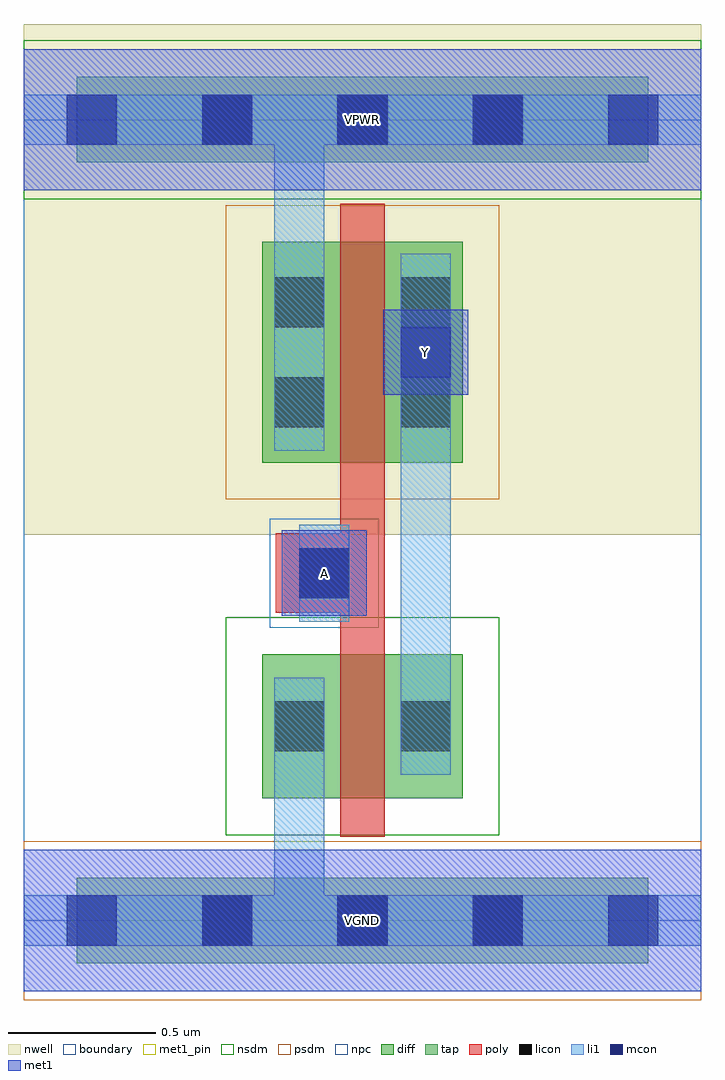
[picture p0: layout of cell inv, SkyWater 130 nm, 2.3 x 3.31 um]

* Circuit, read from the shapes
.subckt inv A VGND VPWR Y
XM1 Y A VGND VGND sky130_fd_pr__nfet_01v8 w=0.49 l=0.15
XM2 Y A VPWR VPWR sky130_fd_pr__pfet_01v8 w=0.75 l=0.15
.ends

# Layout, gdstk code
import gdstk
lib = gdstk.Library(unit=1e-6, precision=1e-09)
def R(c, l, rs):  # rectangles x0, y0, x1, y1
    for r in rs: c.add(gdstk.rectangle(r[:2], r[2:], *l))
def A(c, l, x, y, w, h, nx, ny, dx, dy):  # array of equal rectangles
    R(c, l, [(x+i*dx, y+j*dy, x+i*dx+w, y+j*dy+h) for i in range(nx) for j in range(ny)])
nwell = (64, 20)
diff = (65, 20)
tap = (65, 44)
poly = (66, 20)
licon = (66, 44)
li1 = (67, 20)
mcon = (67, 44)
met1_pin = (68, 16)
met1 = (68, 20)
nsdm = (93, 44)
psdm = (94, 20)
npc = (95, 20)
boundary = (235, 4)

inv = lib.new_cell('inv')
R(inv, nwell, [(0,1.31,2.3,3.045)])
R(inv, diff, [(0.81,0.415,1.49,0.905), (0.81,1.555,1.49,2.305)])
R(inv, tap, [(0.18,-0.145,2.12,0.145), (0.18,2.575,2.12,2.865)])
R(inv, poly, [(1.075,0.285,1.225,2.435), (0.855,1.045,1.185,1.315)])
A(inv, licon, 0.605, -0.085, 0.17, 0.17, 3, 2, 0.46, 2.72)
R(inv, licon, [(0.85,0.575,1.02,0.745), (1.28,0.575,1.45,0.745), (0.935,1.095,1.105,1.265), (0.85,1.675,1.02,1.845), (1.28,1.675,1.45,1.845), (0.85,2.015,1.02,2.185), (1.28,2.015,1.45,2.185)])
R(inv, li1, [(0,-0.085,2.3,0.085), (0.85,-0.085,1.02,0.825), (0.85,0.495,1.02,0.825), (1.28,0.495,1.45,0.825), (1.28,0.495,1.45,2.265), (0.935,1.015,1.105,1.345), (0.85,1.595,1.02,2.265), (0.85,1.595,1.02,2.805), (1.28,1.595,1.45,2.265), (0,2.635,2.3,2.805)])
A(inv, mcon, 0.145, -0.085, 0.17, 0.17, 5, 2, 0.46, 2.72)
R(inv, mcon, [(0.935,1.095,1.105,1.265), (1.28,1.845,1.45,2.015)])
R(inv, met1_pin, [(0,-0.24,2.3,0.24), (0.875,1.035,1.165,1.325), (1.22,1.785,1.51,2.075), (0,2.48,2.3,2.96)])
R(inv, met1, [(0,-0.24,2.3,0.24), (0.875,1.035,1.165,1.325), (1.22,1.785,1.51,2.075), (0,2.48,2.3,2.96)])
R(inv, nsdm, [(0.685,0.29,1.615,1.03), (0,2.45,2.3,2.99)])
R(inv, psdm, [(0,-0.27,2.3,0.27), (0.685,1.43,1.615,2.43)])
R(inv, npc, [(0.835,0.995,1.205,1.365)])
R(inv, boundary, [(0,0,2.3,2.72)])
inv.add(gdstk.Label('A', (1.02,1.18), layer=68, texttype=5))
inv.add(gdstk.Label('Y', (1.365,1.93), layer=68, texttype=5))
inv.add(gdstk.Label('VPWR', (1.15,2.72), layer=68, texttype=5))
inv.add(gdstk.Label('VGND', (1.15,0), layer=68, texttype=5))
inv.add(gdstk.Label('A', (1.02,1.18), layer=68, texttype=16))
inv.add(gdstk.Label('Y', (1.365,1.93), layer=68, texttype=16))
inv.add(gdstk.Label('VPWR', (1.15,2.72), layer=68, texttype=16))
inv.add(gdstk.Label('VGND', (1.15,0), layer=68, texttype=16))

lib.write_gds('inv.gds')
